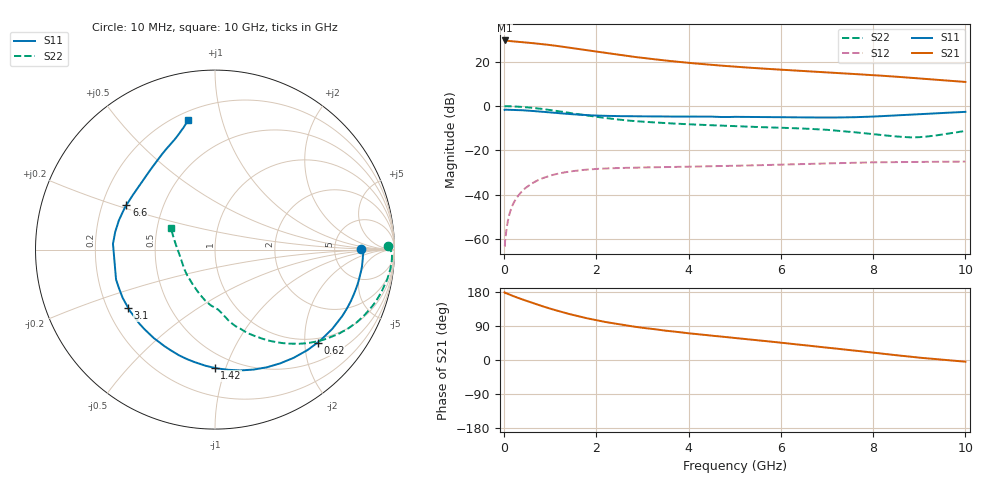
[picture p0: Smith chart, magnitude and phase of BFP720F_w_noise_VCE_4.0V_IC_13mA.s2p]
! Infineon Technologies  Discrete & RF Semiconductors
! BFP720F
! VCE =  4.0 V,  IC =  13 mA
! Common Emitter S-Parameters:  Jan 2016
# GHz  S  MA  R  50
!  f  S11  S21  S12  S22
! GHz  MAG  ANG  MAG  ANG  MAG  ANG  MAG  ANG
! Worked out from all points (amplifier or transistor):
!   233 points, 10 MHz to 10 GHz, reference 50 ohm
!   highest |S21| = 29.5 dB at 10 MHz (marker M1)
!   |S21| within 3 dB of that: start of sweep to 1.335 GHz
!   unconditionally stable (mu >= 1): start of sweep to 16.08 MHz; 6.344 GHz to end of sweep
!   at 200 MHz: K = 0.14, MSG = 36.5 dB, |S12| = -43.9 dB
!   at 1.74 GHz: K = 0.35, MSG = 27.0 dB, |S12| = -28.7 dB
!   at 10 GHz: K = 1.23, MAG = 15.0 dB, |S12| = -25.0 dB
!   lowest NFmin = 0.64 dB at 450 MHz
!   S11 on the Smith chart (normalised r, x): 10 MHz: 9.80, +0.33; 620 MHz: 0.90, -2.29; 1.42 GHz: 0.39, -0.92; 3.1 GHz: 0.29, -0.28; 6.6 GHz: 0.30, +0.22; 10 GHz: 0.25, +0.78
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0.01  0.815 0.4  29.8 178.5  0.0007 -14.2  0.9637 1.3
0.02  0.8263 -1.0  29.36 176.5  0.0009 57.2  0.9868 -1.1
0.05  0.8251 -3.4  29.39 176.2  0.0016 82.3  0.9869 -1.8
0.26  0.8126 -17.9  28.06 165.8  0.0082 77.3  0.9711 -10.5
0.44  0.7946 -30.1  26.96 157.8  0.0136 72.1  0.9428 -17.5
0.62  0.7715 -42.2  25.94 150.4  0.0185 66.3  0.9058 -24.2
0.8  0.7454 -54.0  24.91 143.1  0.0229 60.6  0.864 -30.4
1  0.7164 -66.3  23.48 135.4  0.0271 54.7  0.8109 -36.9
1.2  0.6878 -78.1  22.05 128.4  0.0305 49.4  0.7569 -42.8
1.42  0.659 -90.2  20.51 121.1  0.0334 44.2  0.6992 -48.6
1.68  0.6312 -103.4  18.78 113.2  0.0361 39.0  0.6354 -54.8
2  0.6086 -116.9  16.78 104.8  0.0383 33.7  0.5694 -61.3
2.38  0.5942 -129.8  14.7 96.4  0.0398 28.8  0.5086 -67.6
2.8  0.5846 -140.5  12.81 88.3  0.0408 25.3  0.4592 -72.5
3.1  0.5826 -146.2  11.76 83.6  0.0415 23.5  0.4367 -75.5
3.4  0.5803 -150.9  10.82 79.1  0.042 21.9  0.4172 -77.6
4  0.5767 -158.4  9.328 70.5  0.043 19.8  0.3865 -80.7
5.1  0.5678 175.4  7.535 56.9  0.0454 17.6  0.348 -85.0
6.6  0.5523 153.4  6.027 38.1  0.0497 14.7  0.3063 -95.7
6.8  0.55 149.9  5.857 35.5  0.0503 14.2  0.2981 -98.0
8.4  0.6059 119.5  4.636 14.0  0.0545 9.0  0.2107 -137.7
10  0.7369 101.7  3.476 -4.5  0.0561 4.7  0.2753 153.8
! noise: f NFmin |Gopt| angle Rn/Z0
0.45  0.64  0.27  2  0.64
0.9  0.67  0.23  8  0.14
1.8  0.7  0.21  11  0.15
2.4  0.72  0.18  18  0.13
5.5  0.88  0.15  30  0.08
10  1.04  0.3  -88  0.19
